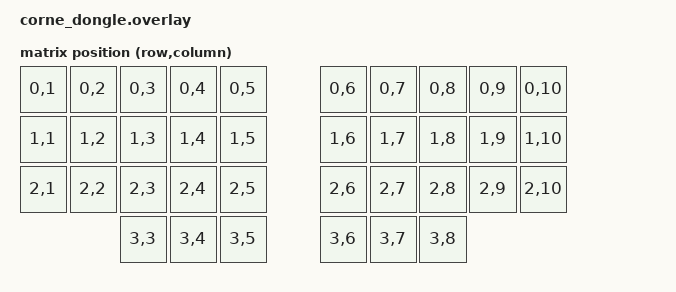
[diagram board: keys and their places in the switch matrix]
/*
 * Seeed Studio Xiao BLE dongle - the split central for the whole setup.
 * corne_left, corne_right and the trackball all connect to it as
 * peripherals (see boards/shields/corne/Kconfig.defconfig), and it is
 * what actually talks HID to the host.
 *
 * It has no physical keys of its own (hence the mock kscan); the keymap
 * comes from config/corne.keymap via ZMK's shield-name fallback
 * (corne_dongle -> corne).
 */

#include <dt-bindings/zmk/matrix_transform.h>

/ {
    chosen {
        zmk,kscan = &mock_kscan;
        zmk,physical-layout = &physical_layout0;
    };

    mock_kscan: mock_kscan_0 {
        compatible = "zmk,kscan-mock";
        columns = <0>;
        rows = <0>;
        events = <0>;
    };

    five_column_transform: keymap_transform_0 {
        compatible = "zmk,matrix-transform";
        columns = <10>;
        rows = <4>;
// | SW2  | SW3  | SW4  | SW5  | SW6  |   | SW6  | SW5  | SW4  | SW3  | SW2  |
// | SW8  | SW9  | SW10 | SW11 | SW12 |   | SW12 | SW11 | SW10 | SW9  | SW8  |
// | SW14 | SW15 | SW16 | SW17 | SW18 |   | SW18 | SW17 | SW16 | SW15 | SW14 |
//               | SW19 | SW20 | SW21 |   | SW21 | SW20 | SW19 |
        map = <
RC(0,1) RC(0,2) RC(0,3) RC(0,4) RC(0,5)  RC(0,6) RC(0,7) RC(0,8) RC(0,9) RC(0,10)
RC(1,1) RC(1,2) RC(1,3) RC(1,4) RC(1,5)  RC(1,6) RC(1,7) RC(1,8) RC(1,9) RC(1,10)
RC(2,1) RC(2,2) RC(2,3) RC(2,4) RC(2,5)  RC(2,6) RC(2,7) RC(2,8) RC(2,9) RC(2,10)
                        RC(3,3) RC(3,4) RC(3,5)  RC(3,6) RC(3,7) RC(3,8)
        >;
    };

    physical_layout0: physical_layout_0 {
        compatible = "zmk,physical-layout";
        display-name = "Default Layout";
        transform = <&five_column_transform>;
    };
};

/*
 * Trackball wiring, central side. The trackball peripheral relays raw
 * PMW3610 motion here over the split link (see
 * boards/shields/trackball/trackball.overlay); everything below decides
 * what that motion turns into. It lives in this overlay, not in the
 * shared corne.keymap, because only the central may define an input
 * listener for a split input - on corne_left/corne_right builds none of
 * this exists.
 *
 * These #includes deliberately come after the matrix transform above:
 * keys.h pulls in dt-bindings/zmk/modifiers.h, whose 1-arg RC (right-ctrl)
 * macro would replace matrix_transform.h's 2-arg RC(row,col) used in the
 * map. corne.keymap (processed after this file) includes keys.h itself, so
 * it still gets the modifier RC it needs for its own bindings.
 */
#include <zephyr/dt-bindings/input/input-event-codes.h>
#include <behaviors.dtsi>
#include <dt-bindings/zmk/keys.h>
#include <input/processors.dtsi>
#include <behaviors/input_gestures_accel.dtsi>

/* Pointer acceleration (nuovotaka/zmk-pointing-acceleration-alpha,
 * community module - not an official ZMK feature). Enabled via
 * config/corne_dongle.conf, as Level 2 "Standard": unlike Level 1 it
 * supports min-factor < 1.0, i.e. slow movements get *damped* for
 * precision while fast ones get boosted. */
&pointer_accel {
    input-type = <INPUT_EV_REL>;
    codes = <INPUT_REL_X INPUT_REL_Y>;
    sensitivity = <1000>;         /* 1.5x base speed */
    min-factor = <400>;           /* 0.7x when moving slowly (precision) */
    max-factor = <2200>;          /* 3.0x at high velocity */
    acceleration-exponent = <3>;  /* mild exponential curve */
    speed-threshold = <700>;      /* counts/sec where boost starts */
    speed-max = <3000>;           /* counts/sec where max-factor is reached */
    y-boost = <1000>;             /* no Y bias (module default is a sneaky 1.2x) */
    sensor-dpi = <600>;           /* matches cpi = <600> on the trackball */
};

/ {
    /* Receives motion relayed from the trackball peripheral, which has its
     * own, separately-defined instance of this node (same reg value).
     * Devicetree includes don't reach across shield folders, so this small
     * node is duplicated there rather than shared via a common file. */
    split_inputs {
        #address-cells = <1>;
        #size-cells = <0>;

        trackball_split: trackball_split@0 {
            compatible = "zmk,input-split";
            reg = <0>;
        };
    };

    /* Watches trackball Y motion while the "volume" layer (13) is held and
     * taps C_VOLUME_DOWN/UP once per `tick` of accumulated movement, at
     * most one tap per tap-interval-ms. If up and down feel swapped, swap
     * the two &kp bindings below. */
    trackball_volume_ticker: trackball_volume_ticker {
        compatible = "zmk,input-processor-axis-behaviors";
        #input-processor-cells = <0>;
        type = <INPUT_EV_REL>;
        code = <INPUT_REL_Y>;
        tick = <20>;
        tap-interval-ms = <40>; /* max 25 volume steps/sec */
        bindings = <&kp C_VOLUME_DOWN>, <&kp C_VOLUME_UP>;
    };

    /* Auto-activate the mouse layer (11) on trackball movement, deactivate
     * after 500ms of no movement, and apply pointer acceleration to cursor
     * movement. While the mouse layer is up, holding SPACE (-> layer 12)
     * scrolls instead of moving the cursor and holding TAB (-> layer 13)
     * adjusts volume instead - see the mouse/scroll/volume layers in
     * config/corne.keymap. */
    trackball_listener: trackball_listener {
        compatible = "zmk,input-listener";
        device = <&trackball_split>;
        input-processors = <&zip_temp_layer 11 600>, <&pointer_accel>;

        scroll_layer {
            layers = <12>;
            /* Vertical scroll only: X is zeroed (scaled by 0/1) before the
             * mapper so ball sideways-drift can't scroll horizontally. If a
             * dedicated horizontal-scroll hold is ever wanted, give it its
             * own gate layer that zeroes Y instead. */
            input-processors = <&zip_x_scaler 0 1>, <&zip_xy_to_scroll_mapper>;
        };

        volume_layer {
            layers = <13>;
            input-processors = <&trackball_volume_ticker>;
        };
    };
};
